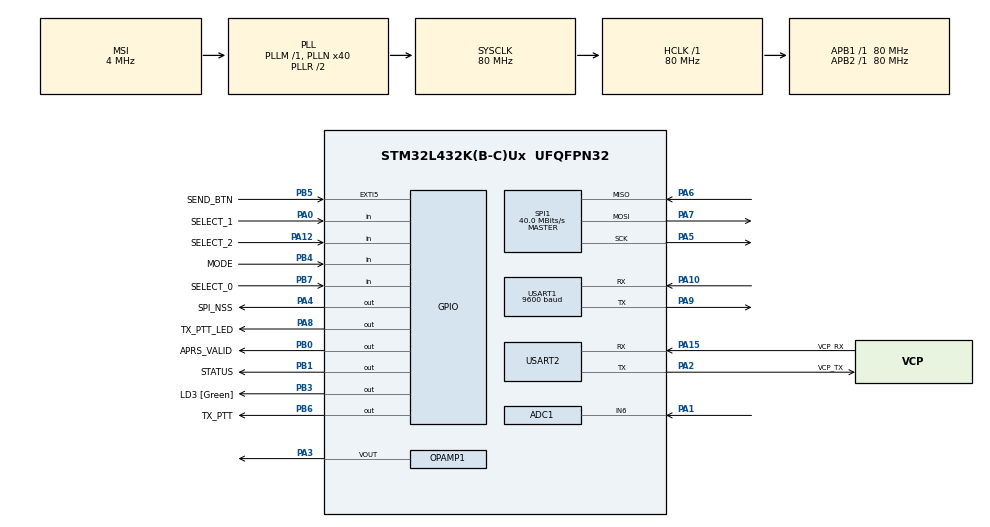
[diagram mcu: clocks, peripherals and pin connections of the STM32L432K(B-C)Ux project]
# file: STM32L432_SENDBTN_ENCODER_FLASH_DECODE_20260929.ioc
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ADC1.Channel-4\#ChannelRegularConversion=ADC_CHANNEL_6
ADC1.DMAContinuousRequests=ENABLE
ADC1.ExternalTrigConv=ADC_EXTERNALTRIG_T2_TRGO
ADC1.NbrOfConversionFlag=1
ADC1.OffsetNumber-4\#ChannelRegularConversion=ADC_OFFSET_NONE
ADC1.Overrun=ADC_OVR_DATA_OVERWRITTEN
ADC1.Rank-4\#ChannelRegularConversion=1
ADC1.Resolution=ADC_RESOLUTION_8B
ADC1.SamplingTime-4\#ChannelRegularConversion=ADC_SAMPLETIME_2CYCLES_5
ADC1.master=1
DAC1.DAC_Trigger-DAC_OUT1_Int=DAC_TRIGGER_T7_TRGO
Dma.ADC1.5.Direction=DMA_PERIPH_TO_MEMORY
Dma.ADC1.5.Instance=DMA1_Channel1
Dma.ADC1.5.MemDataAlignment=DMA_MDATAALIGN_BYTE
Dma.ADC1.5.MemInc=DMA_MINC_ENABLE
Dma.ADC1.5.Mode=DMA_CIRCULAR
Dma.ADC1.5.PeriphDataAlignment=DMA_PDATAALIGN_BYTE
Dma.ADC1.5.PeriphInc=DMA_PINC_DISABLE
Dma.ADC1.5.Priority=DMA_PRIORITY_VERY_HIGH
Dma.DAC_CH1.0.Direction=DMA_MEMORY_TO_PERIPH
Dma.DAC_CH1.0.Instance=DMA1_Channel3
Dma.DAC_CH1.0.MemDataAlignment=DMA_MDATAALIGN_WORD
Dma.DAC_CH1.0.MemInc=DMA_MINC_ENABLE
Dma.DAC_CH1.0.Mode=DMA_CIRCULAR
Dma.DAC_CH1.0.PeriphDataAlignment=DMA_PDATAALIGN_WORD
Dma.DAC_CH1.0.PeriphInc=DMA_PINC_DISABLE
Dma.DAC_CH1.0.Priority=DMA_PRIORITY_HIGH
Dma.Request0=DAC_CH1
Dma.Request1=USART1_RX
Dma.Request2=USART1_TX
Dma.Request3=USART2_RX
Dma.Request4=USART2_TX
Dma.Request5=ADC1
Dma.USART1_RX.1.Direction=DMA_PERIPH_TO_MEMORY
Dma.USART1_RX.1.Instance=DMA1_Channel5
Dma.USART1_RX.1.MemDataAlignment=DMA_MDATAALIGN_BYTE
Dma.USART1_RX.1.MemInc=DMA_MINC_ENABLE
Dma.USART1_RX.1.Mode=DMA_NORMAL
Dma.USART1_RX.1.PeriphDataAlignment=DMA_PDATAALIGN_BYTE
Dma.USART1_RX.1.PeriphInc=DMA_PINC_DISABLE
Dma.USART1_RX.1.Priority=DMA_PRIORITY_LOW
Dma.USART1_TX.2.Direction=DMA_MEMORY_TO_PERIPH
Dma.USART1_TX.2.Instance=DMA1_Channel4
Dma.USART1_TX.2.MemDataAlignment=DMA_MDATAALIGN_BYTE
Dma.USART1_TX.2.MemInc=DMA_MINC_ENABLE
Dma.USART1_TX.2.Mode=DMA_NORMAL
Dma.USART1_TX.2.PeriphDataAlignment=DMA_PDATAALIGN_BYTE
Dma.USART1_TX.2.PeriphInc=DMA_PINC_DISABLE
Dma.USART1_TX.2.Priority=DMA_PRIORITY_LOW
Dma.USART2_RX.3.Direction=DMA_PERIPH_TO_MEMORY
Dma.USART2_RX.3.Instance=DMA1_Channel6
Dma.USART2_RX.3.MemDataAlignment=DMA_MDATAALIGN_BYTE
Dma.USART2_RX.3.MemInc=DMA_MINC_ENABLE
Dma.USART2_RX.3.Mode=DMA_NORMAL
Dma.USART2_RX.3.PeriphDataAlignment=DMA_PDATAALIGN_BYTE
Dma.USART2_RX.3.PeriphInc=DMA_PINC_DISABLE
Dma.USART2_RX.3.Priority=DMA_PRIORITY_LOW
Dma.USART2_TX.4.Direction=DMA_MEMORY_TO_PERIPH
Dma.USART2_TX.4.Instance=DMA1_Channel7
Dma.USART2_TX.4.MemDataAlignment=DMA_MDATAALIGN_BYTE
Dma.USART2_TX.4.MemInc=DMA_MINC_ENABLE
Dma.USART2_TX.4.Mode=DMA_NORMAL
Dma.USART2_TX.4.PeriphDataAlignment=DMA_PDATAALIGN_BYTE
Dma.USART2_TX.4.PeriphInc=DMA_PINC_DISABLE
Dma.USART2_TX.4.Priority=DMA_PRIORITY_LOW
Mcu.Family=STM32L4
Mcu.Name=STM32L432K(B-C)Ux
Mcu.Package=UFQFPN32
NVIC.DMA1_Channel1_IRQn=true\:0\:0\:false\:false\:true\:false\:true\:true
NVIC.DMA1_Channel3_IRQn=true\:0\:0\:false\:false\:true\:false\:true\:true
NVIC.DMA1_Channel4_IRQn=true\:0\:0\:false\:false\:true\:false\:true\:true
NVIC.DMA1_Channel5_IRQn=true\:0\:0\:false\:false\:true\:false\:true\:true
NVIC.DMA1_Channel6_IRQn=true\:0\:0\:false\:false\:true\:false\:true\:true
NVIC.DMA1_Channel7_IRQn=true\:0\:0\:false\:false\:true\:false\:true\:true
NVIC.EXTI9_5_IRQn=true\:0\:0\:false\:false\:true\:true\:true\:true
NVIC.PriorityGroup=NVIC_PRIORITYGROUP_4
NVIC.TIM1_UP_TIM16_IRQn=true\:0\:0\:false\:false\:true\:true\:true\:true
NVIC.TIM6_DAC_IRQn=true\:0\:0\:false\:false\:true\:true\:true\:true
NVIC.TIM7_IRQn=true\:0\:0\:false\:false\:true\:true\:true\:true
NVIC.USART1_IRQn=true\:0\:0\:false\:false\:true\:true\:true\:true
NVIC.USART2_IRQn=true\:0\:0\:false\:false\:true\:true\:true\:true
PA0.GPIO_Label=SELECT_1
PA0.Signal=GPIO_Input
PA1.Signal=ADCx_IN6
PA10.Mode=Asynchronous
PA10.Signal=USART1_RX
PA12.GPIO_Label=SELECT_2
PA12.Signal=GPIO_Input
PA13\ (JTMS-SWDIO).GPIO_Label=SWDIO
PA13\ (JTMS-SWDIO).Mode=Serial_Wire
PA13\ (JTMS-SWDIO).Signal=SYS_JTMS-SWDIO
PA14\ (JTCK-SWCLK).GPIO_Label=SWCLK
PA14\ (JTCK-SWCLK).Mode=Serial_Wire
PA14\ (JTCK-SWCLK).Signal=SYS_JTCK-SWCLK
PA15\ (JTDI).GPIO_Label=VCP_RX
PA15\ (JTDI).Mode=Asynchronous
PA15\ (JTDI).Signal=USART2_RX
PA2.GPIO_Label=VCP_TX
PA2.Mode=Asynchronous
PA2.Signal=USART2_TX
PA3.Mode=Follower-DAC_OUT1-INP
PA3.Signal=OPAMP1_VOUT
PA4.GPIO_Label=SPI_NSS
PA4.Signal=GPIO_Output
PA5.Mode=Full_Duplex_Master
PA5.Signal=SPI1_SCK
PA6.Mode=Full_Duplex_Master
PA6.Signal=SPI1_MISO
PA7.Mode=Full_Duplex_Master
PA7.Signal=SPI1_MOSI
PA8.GPIO_Label=TX_PTT_LED
PA8.Signal=GPIO_Output
PA9.Mode=Asynchronous
PA9.Signal=USART1_TX
PB0.GPIO_Label=APRS_VALID
PB0.Signal=GPIO_Output
PB1.GPIO_Label=STATUS
PB1.Signal=GPIO_Output
PB3\ (JTDO-TRACESWO).GPIO_Label=LD3 [Green]
PB3\ (JTDO-TRACESWO).Signal=GPIO_Output
PB4\ (NJTRST).GPIO_Label=MODE
PB4\ (NJTRST).Signal=GPIO_Input
PB5.GPIO_Label=SEND_BTN
PB5.GPIO_ModeDefaultEXTI=GPIO_MODE_IT_FALLING
PB5.Signal=GPXTI5
PB6.GPIO_Label=TX_PTT
PB6.Signal=GPIO_Output
PB7.GPIO_Label=SELECT_0
PB7.Signal=GPIO_Input
PC14-OSC32_IN\ (PC14).Mode=LSE-External-Oscillator
PC14-OSC32_IN\ (PC14).Signal=RCC_OSC32_IN
PC15-OSC32_OUT\ (PC15).Mode=LSE-External-Oscillator
PC15-OSC32_OUT\ (PC15).Signal=RCC_OSC32_OUT
ProjectManager.HeapSize=0x200
ProjectManager.StackSize=0x400
ProjectManager.TargetToolchain=STM32CubeIDE
RCC.ADCFreq_Value=48000000
RCC.AHBFreq_Value=80000000
RCC.APB1Freq_Value=80000000
RCC.APB1TimFreq_Value=80000000
RCC.APB2Freq_Value=80000000
RCC.APB2TimFreq_Value=80000000
RCC.CortexFreq_Value=80000000
RCC.HCLKFreq_Value=80000000
RCC.HSE_VALUE=8000000
RCC.HSI16_VALUE=16000000
RCC.HSI48_VALUE=48000000
RCC.HSI_VALUE=16000000
RCC.MSI_VALUE=4000000
RCC.PLLMUL=RCC_PLLMUL_4
RCC.PLLN=40
RCC.PLLSAI1N=24
RCC.SYSCLKFreq_VALUE=80000000
RCC.SYSCLKSource=RCC_SYSCLKSOURCE_PLLCLK
RCC.USBFreq_Value=48000000
RCC.VCOOutputFreq_Value=160000000
SH.ADCx_IN6.0=ADC1_IN6,IN6-Single-Ended
SPI1.CalculateBaudRate=40.0 MBits/s
SPI1.Direction=SPI_DIRECTION_2LINES
SPI1.Mode=SPI_MODE_MASTER
SPI1.VirtualType=VM_MASTER
TIM1.Period=499
TIM1.Prescaler=15999
TIM2.Period=8332
TIM2.Prescaler=0
TIM2.TIM_MasterOutputTrigger=TIM_TRGO_UPDATE
TIM6.Period=2082
TIM6.TIM_MasterOutputTrigger=TIM_TRGO_UPDATE
TIM7.Period=19
TIM7.Prescaler=80
TIM7.TIM_MasterOutputTrigger=TIM_TRGO_UPDATE
USART1.BaudRate=9600
USART1.VirtualMode-Asynchronous=VM_ASYNC
USART2.VirtualMode-Asynchronous=VM_ASYNC
VP_DAC1_VS_DACI1.Mode=DAC_OUT1_Int
VP_TIM1_VS_ClockSourceINT.Mode=Internal
VP_TIM1_VS_OPM.Mode=OPM_bit
VP_TIM2_VS_ClockSourceINT.Mode=Internal
VP_TIM6_VS_ClockSourceINT.Mode=Enable_Timer
VP_TIM7_VS_ClockSourceINT.Mode=Enable_Timer
board=NUCLEO-L432KC

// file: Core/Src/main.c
/* USER CODE BEGIN Header */
/**
  ******************************************************************************
  * @file           : main.c
  * @brief          : Main program body
  ******************************************************************************
  * @attention
  *
  * Copyright (c) 2026 STMicroelectronics.
  * All rights reserved.
  *
  * This software is licensed under terms that can be found in the LICENSE file
  * in the root directory of this software component.
  * If no LICENSE file comes with this software, it is provided AS-IS.
  *
  ******************************************************************************
  */
/**
  Click on the Option Bytes tab on the left menu.

  Expand the User Configuration drop-down menu.

  Locate the following two bits and verify their settings:

  nSWBOOT0: This box MUST be unchecked (value = 0).
            This tells the MCU to ignore the physical PA14 pin for
            booting and use the software bit instead.

  nBOOT0: This box MUST be checked (value = 1). When nSWBOOT0 is 1,
          this bit acts as your virtual BOOT0 pin.
          Setting it to 1 forces the MCU to boot directly into your
          main Flash memory code.

**/
/* USER CODE END Header */
#include "main.h"

/* USER CODE BEGIN Includes */
#include <stdbool.h>
#include "stdlib.h"
#include "string.h"
#include "math.h"

#include "project_info.h"

#include "dma_printf.h"
#include "dma_scanf.h"
#include "log.h"

#include "menu.h"
#include "SR105U.h"

#include "dtmf.h"
#include "BitFIFO.h"
#include "AFSK.h"
#include "APRS.h"

/* USER CODE END Includes */

/* USER CODE BEGIN PD */
// Page 127 start address for STM32L432KC (256KB total flash)
#define FLASH_BASE_ADDR          0x08000000U
#define CONFIG_FLASH_PAGE        127
#define CONFIG_FLASH_ADDRESS     (FLASH_BASE_ADDR + (CONFIG_FLASH_PAGE * FLASH_PAGE_SIZE))		//0x0803F800U

/* USER CODE END PD */

ADC_HandleTypeDef hadc1;
DMA_HandleTypeDef hdma_adc1;

DAC_HandleTypeDef hdac1;
DMA_HandleTypeDef hdma_dac_ch1;

OPAMP_HandleTypeDef hopamp1;

SPI_HandleTypeDef hspi1;

TIM_HandleTypeDef htim1;
TIM_HandleTypeDef htim2;
TIM_HandleTypeDef htim6;
TIM_HandleTypeDef htim7;

UART_HandleTypeDef huart1;
UART_HandleTypeDef huart2;
DMA_HandleTypeDef hdma_usart1_rx;
DMA_HandleTypeDef hdma_usart1_tx;
DMA_HandleTypeDef hdma_usart2_rx;
DMA_HandleTypeDef hdma_usart2_tx;

/* USER CODE BEGIN PV */
uint8_t flag = 0;
bool send_Pressed = 0;

/* USER CODE END PV */

void SystemClock_Config(void);
static void MX_GPIO_Init(void);
static void MX_DMA_Init(void);
static void MX_DAC1_Init(void);
static void MX_OPAMP1_Init(void);
static void MX_USART2_UART_Init(void);
static void MX_TIM2_Init(void);
static void MX_TIM6_Init(void);
static void MX_TIM7_Init(void);
static void MX_USART1_UART_Init(void);
static void MX_ADC1_Init(void);
static void MX_SPI1_Init(void);
static void MX_TIM1_Init(void);

/* USER CODE BEGIN 0 */

#include "stm32l4xx_hal.h"

#include "stm32l4xx_hal.h"
#include <stdio.h>

void aprs_led_pulse(void) {
    // 1. Turn LED ON
    HAL_GPIO_WritePin(APRS_VALID_GPIO_Port, APRS_VALID_Pin, GPIO_PIN_SET);

    // 2. Reset counter value
    __HAL_TIM_SET_COUNTER(&htim1, 0);

    // 3. Start Timer in Interrupt mode
    HAL_TIM_Base_Start_IT(&htim1);
}

HAL_StatusTypeDef Flash_WriteConfig(uint64_t data)
{
    // 1. Read actual flash size (in KB)
    uint32_t flash_size_kb = *((uint16_t*)FLASHSIZE_BASE);
    uint32_t flash_size_bytes = flash_size_kb * 1024;

    // 2. Compute page count and last valid page index
    uint32_t page_count = flash_size_bytes / 2048; // 2 KB per page
    uint32_t last_page_index = page_count - 1;
    uint32_t last_page_address = 0x08000000 + (last_page_index * 0x800);

    // 3. Unlock and clear flags
    HAL_FLASH_Unlock();
    __HAL_FLASH_CLEAR_FLAG(FLASH_FLAG_ALL_ERRORS);

    // 4. Erase last page
    FLASH_EraseInitTypeDef EraseInit;
    uint32_t PageError = 0;
    EraseInit.TypeErase = FLASH_TYPEERASE_PAGES;
    EraseInit.Page = last_page_index;
    EraseInit.NbPages = 1;
    EraseInit.Banks = FLASH_BANK_1;

    HAL_StatusTypeDef status = HAL_FLASHEx_Erase(&EraseInit, &PageError);
    if (status != HAL_OK) {
        HAL_FLASH_Lock();
        return status; // Erase failed
    }

    // 5. Program 64-bit data at start of last page
    status = HAL_FLASH_Program(
        FLASH_TYPEPROGRAM_DOUBLEWORD,
        last_page_address,
        data
    );

    // 6. Lock flash again
    HAL_FLASH_Lock();

    return status;
}

HAL_StatusTypeDef Flash_EraseLastPage(void)
{
    // 1. Read actual flash size
    uint32_t flash_size_kb = *((uint16_t*)FLASHSIZE_BASE);
    uint32_t flash_size_bytes = flash_size_kb * 1024;

    // 2. Compute last valid page
    uint32_t page_count = flash_size_bytes / 2048; // 2 KB per page
    uint32_t last_page_index = page_count - 1;

    // 3. Unlock and clear flags
    HAL_FLASH_Unlock();
    __HAL_FLASH_CLEAR_FLAG(FLASH_FLAG_ALL_ERRORS);

    // 4. Erase last page
    FLASH_EraseInitTypeDef EraseInit;
    uint32_t PageError = 0;
    EraseInit.TypeErase = FLASH_TYPEERASE_PAGES;
    EraseInit.Page = last_page_index;
    EraseInit.NbPages = 1;
    EraseInit.Banks = FLASH_BANK_1;

    HAL_StatusTypeDef status = HAL_FLASHEx_Erase(&EraseInit, &PageError);

    HAL_FLASH_Lock();
    return status;
}

HAL_StatusTypeDef Save_Config_To_Flash(const AppConfig_t *config)
{

    HAL_StatusTypeDef status;
    FLASH_EraseInitTypeDef erase_init = {0};
    uint32_t page_error = 0;

    // 1. Disable Caches (prevents CPU from serving stale Flash reads)
    __HAL_FLASH_INSTRUCTION_CACHE_DISABLE();
    __HAL_FLASH_DATA_CACHE_DISABLE();

    // 2. Unlock Flash
    HAL_FLASH_Unlock();

    // 3. Clear flags (prevents false errors on STM32L4)
    __HAL_FLASH_CLEAR_FLAG(FLASH_FLAG_ALL_ERRORS);

    // 4. Configure page erase
    erase_init.TypeErase   = FLASH_TYPEERASE_PAGES;
    erase_init.Banks       = FLASH_BANK_1;
    erase_init.Page        = CONFIG_FLASH_PAGE;
    erase_init.NbPages     = 1;

    // 5. Erase Page with Interrupts Disabled
    __disable_irq();
    status = HAL_FLASHEx_Erase(&erase_init, &page_error);
    __enable_irq();

    if (status != HAL_OK) {
    	uint32_t error_code = HAL_FLASH_GetError(); // Inspect this in debugger
    	log_message(LOG_LEVEL_ERROR, "FLASH", "Error Code: %x\n\r", error_code);
        HAL_FLASH_Lock();
        return status;
    }

    // 6. Verify Page is completely 0xFF before writing
    volatile uint64_t *flash_ptr = (uint64_t *)CONFIG_FLASH_ADDRESS;
    if (*flash_ptr != 0xFFFFFFFFFFFFFFFFULL) {
      HAL_FLASH_Lock();
      return HAL_ERROR; // Memory is still dirty, do not attempt program
    }

    // 7. Write Data in 64-bit Double-Word Chunks
    uint64_t write_buffer = 0;
    uint8_t *src_ptr = (uint8_t *)config;
    uint32_t bytes_left = sizeof(AppConfig_t);
    uint32_t current_address = CONFIG_FLASH_ADDRESS;
    uint32_t num_double_words = (sizeof(AppConfig_t) + 7) / 8;

    for (uint32_t i = 0; i < num_double_words; i++) {
      write_buffer = 0xFFFFFFFFFFFFFFFFULL; // Default to erased state padding
      uint32_t chunk_size = (bytes_left >= 8) ? 8 : bytes_left;
      memcpy(&write_buffer, src_ptr, chunk_size);

      status = HAL_FLASH_Program(FLASH_TYPEPROGRAM_DOUBLEWORD, current_address, write_buffer);
      if (status != HAL_OK) {
        break;
      }

    current_address += 8;
    src_ptr += chunk_size;
    bytes_left -= chunk_size;
  }

    // 8. Lock Flash & Clear Flags
    HAL_FLASH_Lock();

    return status;

}

void Load_Config_From_Flash(AppConfig_t *config)
{
    // Directly copy from Flash memory address into local memory structure
    memcpy(config, (const void *)CONFIG_FLASH_ADDRESS, sizeof(AppConfig_t));
}

void DisablePTT() {
	HAL_GPIO_WritePin(TX_PTT_GPIO_Port, TX_PTT_Pin, GPIO_PIN_SET);
	HAL_GPIO_WritePin(TX_PTT_LED_GPIO_Port, TX_PTT_LED_Pin, GPIO_PIN_RESET);
}

void EnablePTT() {
	HAL_GPIO_WritePin(TX_PTT_GPIO_Port, TX_PTT_Pin, GPIO_PIN_RESET);
	HAL_GPIO_WritePin(TX_PTT_LED_GPIO_Port, TX_PTT_LED_Pin, GPIO_PIN_SET);
}

void StartAPRS() {
	HAL_StatusTypeDef halStatus;
	DAC_ChannelConfTypeDef sConfig = {0};

 	log_message(LOG_LEVEL_INFO,"APRS", "APRS Mode Started\n\r");
    //printf("APRS Mode 1 Selected\n\r");
 	log_message(LOG_LEVEL_INFO,"APRS", "Using Tx Frequency : %.4f\n\r", txFreq);
    //printf("\tUsing Tx Frequency : %.4f\n\r", txFreq);

	HAL_TIM_Base_Stop(&htim6);
	// 1. Specify the configuration parameters
	sConfig.DAC_SampleAndHold = DAC_SAMPLEANDHOLD_DISABLE;
	sConfig.DAC_Trigger = DAC_TRIGGER_T6_TRGO;		// <-- CHANGE TRIGGER SOURCE HERE
	sConfig.DAC_OutputBuffer = DAC_OUTPUTBUFFER_DISABLE;
	sConfig.DAC_ConnectOnChipPeripheral = DAC_CHIPCONNECT_ENABLE;
	sConfig.DAC_UserTrimming = DAC_TRIMMING_FACTORY;

    // 2. Re-initialize the DAC Channel with the new trigger source
	// (Change DAC_CHANNEL_1 to DAC_CHANNEL_2 if using the second channel)
//	if (HAL_DAC_ConfigChannel(&hdac1, &sConfig, DAC_CHANNEL_1) != HAL_OK)
	halStatus =  HAL_DAC_ConfigChannel(&hdac1, &sConfig, DAC_CHANNEL_1);
	if (halStatus != HAL_OK)
	{
//	  Error_Handler();
		printf("HAL_DAC_ConfigChannel() ERROR: %x\n\r", halStatus);
		HAL_Delay(1000);
		TRIGGER_ERROR(ERROR_DAC);
	}

	// Change timer frequency on the fly
	__HAL_TIM_SET_PRESCALER(&htim6, 0);      // Set PSC to 0 (divide clock by 80)
	__HAL_TIM_SET_AUTORELOAD(&htim6, 2082);  // Set ARR to 2082 (count 1000 steps)

	// 1. STAGING: Modify the configuration structures
	// CHANGE THESE TWO LINES TO DataWidth:
	// Note: PDATAALIGN for Peripheral, MDATAALIGN for Memory
	hdma_dac_ch1.Init.PeriphDataAlignment = DMA_PDATAALIGN_BYTE;
	hdma_dac_ch1.Init.MemDataAlignment    = DMA_MDATAALIGN_BYTE;

	// 2. HARDWARE INITIALIZATION: Commit the configuration to physical registers
	// You MUST call this so the hardware applies the HALFWORD settings!
	HAL_DMA_Init(&hdma_dac_ch1);

	// 3. POINTER LINKING: Link the DAC and DMA structures together
    hdac1.DMA_Handle1 = &hdma_dac_ch1;
    hdma_dac_ch1.Parent = &hdac1;

    // 4. RESET STATE: Clear peripheral flags to avoid an immediate false interrupt
    __HAL_DMA_CLEAR_FLAG(&hdma_dac_ch1, __HAL_DMA_GET_TC_FLAG_INDEX(&hdma_dac_ch1));
    __HAL_DMA_CLEAR_FLAG(&hdma_dac_ch1, __HAL_DMA_GET_HT_FLAG_INDEX(&hdma_dac_ch1));

    // 5. PERIPHERAL STARTUP: Start the actual streaming
    // Only call this AFTER steps 1-4 are completely done.

    // Start DAC in DMA mode
    // This automatically links TIM6 trigger -> DAC hardware -> DMA requests
	HAL_DAC_SetValue(&hdac1, DAC_CHANNEL_1, DAC_ALIGN_8B_R, DAC_REST);
    HAL_DAC_Start_DMA(&hdac1, DAC_CHANNEL_1,
    		                  (uint32_t*) send_buff,
							  sizeof(send_buff) / sizeof(send_buff[0]),    //AFSK_SEND_BUFF_SIZE,
							  DAC_ALIGN_8B_R);

    HAL_TIM_Base_Start_IT(&htim6);				// 26uS Timer

}

void StopAPRS() {
//	HAL_StatusTypeDef halStatus;

  log_message(LOG_LEVEL_INFO,"APRS", "APRS Mode Stopped\n\r");
  HAL_TIM_Base_Stop(&htim6);
  HAL_DAC_Stop_DMA(&hdac1, DAC_CHANNEL_1);

}

void StartDTMF() {
	HAL_StatusTypeDef halStatus;

	DAC_ChannelConfTypeDef sConfig = {0};

 	log_message(LOG_LEVEL_INFO,"DTMF", "DTMF Mode Started\n\r");
    //printf("APRS Mode 1 Selected\n\r");
 	log_message(LOG_LEVEL_INFO,"DTMF", "Using Tx Frequency : %.4f\n\r", txFreq);
    //printf("\tUsing Tx Frequency : %.4f\n\r", txFreq);

	HAL_TIM_Base_Stop(&htim6);
	// 1. Specify the configuration parameters
	sConfig.DAC_SampleAndHold = DAC_SAMPLEANDHOLD_DISABLE;
	sConfig.DAC_Trigger = DAC_TRIGGER_T6_TRGO;		// <-- CHANGE TRIGGER SOURCE HERE
	sConfig.DAC_OutputBuffer = DAC_OUTPUTBUFFER_DISABLE;
	sConfig.DAC_ConnectOnChipPeripheral = DAC_CHIPCONNECT_ENABLE;
	sConfig.DAC_UserTrimming = DAC_TRIMMING_FACTORY;

    // 2. Re-initialize the DAC Channel with the new trigger source
	// (Change DAC_CHANNEL_1 to DAC_CHANNEL_2 if using the second channel)
//	if (HAL_DAC_ConfigChannel(&hdac1, &sConfig, DAC_CHANNEL_1) != HAL_OK)
	halStatus =  HAL_DAC_ConfigChannel(&hdac1, &sConfig, DAC_CHANNEL_1);
	if (halStatus != HAL_OK)
	{
//	  Error_Handler();
		printf("HAL_DAC_ConfigChannel() ERROR: %x\n\r", halStatus);
		HAL_Delay(1000);
		TRIGGER_ERROR(ERROR_DAC);
	}

	// Change timer frequency on the fly
	__HAL_TIM_SET_PRESCALER(&htim6, 0);   // Set PSC to 79 (divide clock by 80)
	__HAL_TIM_SET_AUTORELOAD(&htim6, 1599);  // Set ARR to 999 (count 1000 steps)

	// 1. STAGING: Modify the configuration structures
	// CHANGE THESE TWO LINES TO DataWidth:
	// Note: PDATAALIGN for Peripheral, MDATAALIGN for Memory
	hdma_dac_ch1.Init.PeriphDataAlignment = DMA_PDATAALIGN_WORD;
	hdma_dac_ch1.Init.MemDataAlignment    = DMA_MDATAALIGN_WORD;

	// 2. HARDWARE INITIALIZATION: Commit the configuration to physical registers
	// You MUST call this so the hardware applies the HALFWORD settings!
	HAL_DMA_Init(&hdma_dac_ch1);

	// 3. POINTER LINKING: Link the DAC and DMA structures together
	hdac1.DMA_Handle1 = &hdma_dac_ch1;
	hdma_dac_ch1.Parent = &hdac1;

	// 4. RESET STATE: Clear peripheral flags to avoid an immediate false interrupt
	__HAL_DMA_CLEAR_FLAG(&hdma_dac_ch1, __HAL_DMA_GET_TC_FLAG_INDEX(&hdma_dac_ch1));
	__HAL_DMA_CLEAR_FLAG(&hdma_dac_ch1, __HAL_DMA_GET_HT_FLAG_INDEX(&hdma_dac_ch1));

	// 5. PERIPHERAL STARTUP: Start the actual streaming
	// Only call this AFTER steps 1-4 are completely done.
    HAL_DAC_Start_DMA(&hdac1, DAC_CHANNEL_1,
    		                  (uint32_t*)dac_buffer,
							  sizeof(dac_buffer) / sizeof(dac_buffer[0]),
							  DAC_ALIGN_12B_R);

	HAL_TIM_Base_Start_IT(&htim6);

    // Start DAC in DMA mode
    // This automatically links TIM6 trigger -> DAC hardware -> DMA requests
//    HAL_DAC_Start_DMA(&hdac1, DAC_CHANNEL_1, (uint32_t*)dac_buffer, BUFFER_SIZE, DAC_ALIGN_12B_R);

//    HAL_DAC_Start(&hdac1, DAC_CHANNEL_1);
//    HAL_TIM_Base_Start_IT(&htim6);				// 50uS Timer

}

void StopDTMF() {
//	HAL_StatusTypeDef halStatus;

	log_message(LOG_LEVEL_INFO,"DTMF", "DTMF Mode Stopped\n\r");
    // 200ms has elapsed! Stop the playback
    HAL_Delay(DTMF_DURATION);
    HAL_TIM_Base_Stop(&htim6);
    HAL_DAC_Stop_DMA(&hdac1, DAC_CHANNEL_1);
#if 0
    halStatus = HAL_OPAMP_Stop(&hopamp1);
	if (halStatus != HAL_OK)
	{
//	  Error_Handler();
		printf("HAL_OPAMP_Stop() ERROR: %x\n\r", halStatus);
		HAL_Delay(1000);
     	TRIGGER_ERROR(ERROR_OPAMP);
	}
#endif
#if 0
    if (HAL_OPAMP_Stop(&hopamp1) != HAL_OK) {
    	TRIGGER_ERROR(ERROR_OPAMP);
    }
#endif
}

void APRS_Send(APRSPacket *pack) {
   	  log_message(LOG_LEVEL_INFO,"APRS", "APRS Packet sent\n\r");
      //printf("APRS Mode 1 Selected\n\r");
   	  log_message(LOG_LEVEL_INFO,"APRS", "Using Tx Frequency : %.4f\n\r", txFreq);
      //printf("\tUsing Tx Frequency : %.4f\n\r", txFreq);
      if (aprsInit == 0) {
  	    BitFIFO_init(&tx_fifo, malloc(APRS_FIFO_BYTES), APRS_FIFO_BYTES);
  	    tx_pack.dest = malloc(APRS_SIGN_LEN);
  	    tx_pack.callsign = malloc(APRS_SIGN_LEN);
  	    tx_pack.digi = malloc(APRS_SIGN_LEN * APRS_MAX_DIGI);
  	    tx_pack.info = malloc(APRS_MAX_INFO + 1);

        HAL_OPAMP_Start(&hopamp1);
        AFSK_init();
        APRS_init();

        strcpy(tx_pack.dest, APRS_DEFAULT_PACKET.dest);
        strcpy(tx_pack.callsign, APRS_DEFAULT_PACKET.callsign);
        strcpy(tx_pack.digi, APRS_DEFAULT_PACKET.digi);
        strcpy(tx_pack.info, APRS_DEFAULT_PACKET.info);
  	    aprsInit = 1;
      }

      // N0CALL>APCSS,WIDE1-1:>MODE=?
      strcpy(tx_pack.callsign, pack->callsign);
      strcpy(tx_pack.dest, pack->dest);
      strcpy(tx_pack.digi, pack->digi);
      strcpy(tx_pack.info, pack->info);
      APRS_print(&tx_pack);

      EnablePTT();
      StartAPRS();
      APRS_encode(&tx_fifo, &tx_pack);
      AFSK_send(&tx_fifo);

}

/* USER CODE END 0 */

int main(void)
{

  /* USER CODE BEGIN 1 */
////  uint32_t num = 0;
  GPIO_PinState pin_state;
  dtmf_dma_F = 0;
  dtmf_dma_H = 0;
  aprs_dma_F = 0;
  aprs_dma_H = 0;
  HAL_StatusTypeDef status;

  /* USER CODE END 1 */

  /* MCU Configuration--------------------------------------------------------*/

  /* Reset of all peripherals, Initializes the Flash interface and the Systick. */
  HAL_Init();

  /* Configure the system clock */
  SystemClock_Config();

  /* Initialize all configured peripherals */
  MX_GPIO_Init();
  MX_DMA_Init();
  MX_DAC1_Init();
  MX_OPAMP1_Init();
  MX_USART2_UART_Init();
  MX_TIM2_Init();
  MX_TIM6_Init();
  MX_TIM7_Init();
  MX_USART1_UART_Init();
  MX_ADC1_Init();
  MX_SPI1_Init();
  MX_TIM1_Init();
  /* USER CODE BEGIN 2 */

  setbuf(stdin, NULL);
  setbuf(stdout, NULL);
  setbuf(stderr, NULL);
  dma_printf_init(&huart2);
  dma_scanf_init(&huart2);

  log_set_level(LOG_LEVEL_INFO);
  // Clear the screen and home the cursor
  printf("\033[2J\033[H");

  printf("\n\rProject %s\n\r", PROJECT_NAME);
  printf("Build at %s %s\r\n", __DATE__, __TIME__);

  // set PTT High (Rx Mode)
  HAL_GPIO_WritePin(TX_PTT_GPIO_Port, TX_PTT_Pin, GPIO_PIN_SET);
  HAL_GPIO_WritePin(TX_PTT_LED_GPIO_Port, TX_PTT_LED_Pin, GPIO_PIN_RESET);

  for(int i=0; i<5; i++) {
    HAL_GPIO_WritePin(TX_PTT_LED_GPIO_Port, TX_PTT_LED_Pin, GPIO_PIN_SET);
    HAL_GPIO_WritePin(STATUS_GPIO_Port, STATUS_Pin, GPIO_PIN_SET);
    HAL_GPIO_WritePin(APRS_VALID_GPIO_Port, APRS_VALID_Pin, GPIO_PIN_SET);
    HAL_Delay(250);
    HAL_GPIO_WritePin(TX_PTT_LED_GPIO_Port, TX_PTT_LED_Pin, GPIO_PIN_RESET);
    HAL_GPIO_WritePin(STATUS_GPIO_Port, STATUS_Pin, GPIO_PIN_RESET);
    HAL_GPIO_WritePin(APRS_VALID_GPIO_Port, APRS_VALID_Pin, GPIO_PIN_RESET);
    HAL_Delay(250);
  }

  ///////////////////////////////////////////////////////////////////
  // Load Config from Flash
  // Load saved settings
  // To clear FLASH->SR flags before new FLASH operations.

  log_message(LOG_LEVEL_DEBUG, "FLASH", "FLASH->SR: %x\n\r", FLASH->SR);
//  printf("FLASH->SR: %x\n\r", FLASH->SR);
  if (FLASH->SR != 0)
	  status = Flash_EraseLastPage();
//  printf("Status : %x\n\r", status);
  log_message(LOG_LEVEL_DEBUG, "FLASH", "Status : %x\n\r", status);
  log_message(LOG_LEVEL_DEBUG, "FLASH", "FLASH->SR: %x\n\r", FLASH->SR);
//  printf("FLASH->SR: %x\n\r", FLASH->SR);

  Load_Config_From_Flash(&sysConfig);
  log_message(LOG_LEVEL_DEBUG,"CONFIG", "Checksum: %x\n\r", sysConfig.checksum);
  // Check if configuration is unitialized (Flash reads 0xFFFFFFFF when erased)
  if (sysConfig.checksum != 0x5A5A5A5A) {
	  log_message(LOG_LEVEL_DEBUG,"CONFIG", "User Config Initializing\n\r");
      // Load default values if uninitialized
      sysConfig.version = 1;
      strcpy(sysConfig.device_name, "GroundStation-01");
      sysConfig.txFreq = TX_FREQ;
      sysConfig.rxFreq = RX_FREQ;

      sysConfig.sq_level = 0;
      sysConfig.af_level = 6;

	  txFreq = sysConfig.txFreq;
	  rxFreq = sysConfig.rxFreq;

      sysConfig.checksum = 0x5A5A5A5A;

      // Save default settings to flash
      status = Save_Config_To_Flash(&sysConfig);
      if (status != HAL_OK) {
    	  log_message(LOG_LEVEL_ERROR,"CONFIG", "Flash Save Error: %d\n\r", status);
      }
  } else {
	log_message(LOG_LEVEL_DEBUG,"CONFIG", "User Config initialized\n\r");
	log_message(LOG_LEVEL_DEBUG,"CONFIG", "Name: %s\n\r", sysConfig.device_name);
	log_message(LOG_LEVEL_DEBUG,"CONFIG", "Rx Freq: %f\n\r", sysConfig.rxFreq);
	log_message(LOG_LEVEL_DEBUG,"CONFIG", "Tx Freq: %f\n\r", sysConfig.txFreq);
	log_message(LOG_LEVEL_DEBUG,"CONFIG", "SQ Level: %d\n\r", sysConfig.sq_level);
	log_message(LOG_LEVEL_DEBUG,"CONFIG", "AF Level: %d\n\r", sysConfig.af_level);

	// Configure Frequencies for SR105U
	txFreq = sysConfig.txFreq;
	rxFreq = sysConfig.rxFreq;
  }

  Load_Config_From_Flash(&sysConfig);
  log_message(LOG_LEVEL_DEBUG,"CONFIG", "Checksum: %lx\n\r", sysConfig.checksum);

  ///////////////////////////////////////////////////////////////////
  HAL_TIM_Base_Start_IT(&htim7);				// 50uS Timer

  // Read from PA12 (MODE)
  pin_state = HAL_GPIO_ReadPin(MODE_GPIO_Port, MODE_Pin);
  if (pin_state == GPIO_PIN_SET) {
	ModeState = MODE_APRS;
	log_message(LOG_LEVEL_INFO,"MODE","APRS Mode \n\r");
  }	else {
	ModeState = MODE_DTMF;
	log_message(LOG_LEVEL_INFO,"MODE","DTMF Mode \n\r");
  }

  HAL_Delay(1000);

  ConfigSR105U_Freq(rxFreq, txFreq);
  HAL_Delay(500);
  ConfigSR105U_SQ(sysConfig.sq_level);
  HAL_Delay(500);

  ConfigSR105U_Vol(sysConfig.af_level);
  HAL_Delay(500);

  /* Start the OPAMP so it connects the internal DAC to the external pin */

   if (HAL_OPAMP_Start(&hopamp1) != HAL_OK) {
       Error_Handler();
   }

  /* USER CODE END 2 */

  /* Infinite loop */
  /* USER CODE BEGIN WHILE */

  if (aprsInit == 0) {
   	  BitFIFO_init(&tx_fifo, malloc(APRS_FIFO_BYTES), APRS_FIFO_BYTES);
   	  tx_pack.dest = malloc(APRS_SIGN_LEN);
   	  tx_pack.callsign = malloc(APRS_SIGN_LEN);
   	  tx_pack.digi = malloc(APRS_SIGN_LEN * APRS_MAX_DIGI);
   	  tx_pack.info = malloc(APRS_MAX_INFO + 1);

      HAL_OPAMP_Start(&hopamp1);
      AFSK_init();
      APRS_init();

      strcpy(tx_pack.dest, APRS_DEFAULT_PACKET.dest);
      strcpy(tx_pack.callsign, APRS_DEFAULT_PACKET.callsign);
      strcpy(tx_pack.digi, APRS_DEFAULT_PACKET.digi);
      strcpy(tx_pack.info, APRS_DEFAULT_PACKET.info);

   	  aprsInit = 1;

  }
  init_sine_lut();
  // Prime the entire buffer with baseline data (silence) before starting
  fill_buffer_half(0, BUFFER_SIZE);

//  run_main_menu(MENU_TIMEOUT); 		// Timeout of MENU_TIMEOUT (30000mS).
//  run_command_menu(MENU_TIMEOUT);

  printf("(M/m) for main menu. (C/c) for sending command\n\r");
  printf(" or Press BTN to send command \n\r");
  while(dma_getc_nonblocking() >= 0)
	  ;

  typedef enum {
      ACTIVE_MENU_NONE = 0,
      ACTIVE_MENU_MAIN,
      ACTIVE_MENU_COMMAND
  } ActiveMenu_t;

  ActiveMenu_t active_menu = ACTIVE_MENU_NONE;

  while (1) {
	// 1. Unblocked APRS Packet Handling
    if (APRS_decoded_packet_valid == 1) {
      log_message(LOG_LEVEL_INFO, "APRS", "VALID APRS %ld\r\n", HAL_GetTick());
	  log_message(LOG_LEVEL_INFO, "APRS", "dest  [%s]\r\n", APRS_decoded_packet.dest);
	  log_message(LOG_LEVEL_INFO, "APRS", "callsign  [%s]\r\n", APRS_decoded_packet.callsign);
	  log_message(LOG_LEVEL_INFO, "APRS", "digi = [%s]\r\n", APRS_decoded_packet.digi);
	  log_message(LOG_LEVEL_INFO, "APRS", "info = [%s]\r\n", APRS_decoded_packet.info);

	  APRS_decoded_packet_valid = 0;
    }

    if (APRS_send_done == true) {
    	APRS_send_done = false;
    	log_message(LOG_LEVEL_INFO,"APRS", "APRS Frame sends completely.\n\r");
    	 StopAPRS() ;
    }
    if (send_Pressed == 1) {
        send_Pressed = 0;
    	GPIO_PinState sel0, sel1, sel2;
    	uint8_t sel;
    	// User Pressed Send Button
    	log_message(LOG_LEVEL_INFO,"SEND","SEND Pressed\n\r");
        pin_state = HAL_GPIO_ReadPin(MODE_GPIO_Port, MODE_Pin);
        sel0 = HAL_GPIO_ReadPin(SELECT_0_GPIO_Port, SELECT_0_Pin);
        sel1 = HAL_GPIO_ReadPin(SELECT_1_GPIO_Port, SELECT_1_Pin);
        sel2 = HAL_GPIO_ReadPin(SELECT_2_GPIO_Port, SELECT_2_Pin);

        sel = ((sel2<<2) + (sel1<<1) + sel0);

        if (pin_state == GPIO_PIN_SET) {
          log_message(LOG_LEVEL_INFO,"MODE","APRS Mode, Sel: %d \n\r", sel);
       	  ModeState = MODE_APRS;

      	  switch(sel) {
      	  case 0:
        	  log_message(LOG_LEVEL_INFO,"APRS","APRS Mode 1\n\r");
		      strcpy(tx_pack.callsign, "NOCALL");
		      strcpy(tx_pack.dest, "APCSS");
		      strcpy(tx_pack.digi, "WIDE1-1");
		      strcpy(tx_pack.info, ">MODE=a");
         	  APRS_Send(&tx_pack);
      		  break;
          case 1:
        	  log_message(LOG_LEVEL_INFO,"APRS","APRS Mode 2\n\r");

		      strcpy(tx_pack.callsign, "NOCALL");
		      strcpy(tx_pack.dest, "APCSS");
		      strcpy(tx_pack.digi, "WIDE1-1");
		      strcpy(tx_pack.info, ">MODE=f");
         	  APRS_Send(&tx_pack);
		      break;
          case 2:
        	  log_message(LOG_LEVEL_INFO,"APRS","APRS Mode 3\n\r");

		      strcpy(tx_pack.callsign, "NOCALL");
		      strcpy(tx_pack.dest, "APCSS");
		      strcpy(tx_pack.digi, "WIDE1-1");
		      strcpy(tx_pack.info, ">MODE=b");
         	  APRS_Send(&tx_pack);

		      break;
          case 3:
        	  log_message(LOG_LEVEL_INFO,"APRS","APRS Mode 4\n\r");

		      strcpy(tx_pack.callsign, "NOCALL");
		      strcpy(tx_pack.dest, "APCSS");
		      strcpy(tx_pack.digi, "WIDE1-1");
		      strcpy(tx_pack.info, ">MODE=s");
         	  APRS_Send(&tx_pack);

		      break;
          case 4:
        	  log_message(LOG_LEVEL_INFO,"APRS","APRS Mode 5\n\r");

		      strcpy(tx_pack.callsign, "NOCALL");
		      strcpy(tx_pack.dest, "APCSS");
		      strcpy(tx_pack.digi, "WIDE1-1");
		      strcpy(tx_pack.info, ">MODE=m");
         	  APRS_Send(&tx_pack);

		      break;
          case 5:
        	  log_message(LOG_LEVEL_INFO,"APRS","APRS Mode 6\n\r");

		      strcpy(tx_pack.callsign, "NOCALL");
		      strcpy(tx_pack.dest, "APCSS");
		      strcpy(tx_pack.digi, "WIDE1-1");
		      strcpy(tx_pack.info, ">MODE=e");
         	  APRS_Send(&tx_pack);

		      break;
          case 6:
        	  log_message(LOG_LEVEL_INFO,"APRS","APRS Mode 7\n\r");

		      strcpy(tx_pack.callsign, "NOCALL");
		      strcpy(tx_pack.dest, "APCSS");
		      strcpy(tx_pack.digi, "WIDE1-1");
		      strcpy(tx_pack.info, ">MODE=j");
         	  APRS_Send(&tx_pack);

		      break;
          case 7:
        	  log_message(LOG_LEVEL_INFO,"APRS","APRS Mode 8\n\r");

		      strcpy(tx_pack.callsign, "NOCALL");
		      strcpy(tx_pack.dest, "APCSS");
		      strcpy(tx_pack.digi, "WIDE1-1");
		      strcpy(tx_pack.info, ">MODE=o");
         	  APRS_Send(&tx_pack);

		      break;

          default:
        	  log_message(LOG_LEVEL_INFO,"ERROR","Unknown Selected Mode: %d\n\r", sel);
      	  }

        }	else {
          log_message(LOG_LEVEL_INFO,"MODE","DTMF Mode, Sel: %d \n\r", sel);
       	  ModeState = MODE_DTMF;

      	  switch(sel) {
      	  case 0:
        	  log_message(LOG_LEVEL_INFO,"DTMF","DTMF Mode 1\n\r");

		      EnablePTT();
		      StartDTMF();
		      play_dtmf_tone_Delay('1', TONE_DURATION_MS);
		      play_dtmf_tone_Delay('#', TONE_DURATION_MS);
		      play_dtmf_tone_Delay(' ', TONE_DURATION_MS);
		      StopDTMF();
		      DisablePTT();
      		  break;
          case 1:
        	  log_message(LOG_LEVEL_INFO,"DTMF","DTMF Mode 2\n\r");

		      EnablePTT();
		      StartDTMF();
		      play_dtmf_tone_Delay('2', TONE_DURATION_MS);
		      play_dtmf_tone_Delay('#', TONE_DURATION_MS);
		      play_dtmf_tone_Delay(' ', TONE_DURATION_MS);
		      StopDTMF();
		      DisablePTT();

		      break;
          case 2:
        	  log_message(LOG_LEVEL_INFO,"DTMF","DTMF Mode 3\n\r");

		      EnablePTT();
		      StartDTMF();
		      play_dtmf_tone_Delay('3', TONE_DURATION_MS);
		      play_dtmf_tone_Delay('#', TONE_DURATION_MS);
		      play_dtmf_tone_Delay(' ', TONE_DURATION_MS);
		      StopDTMF();
		      DisablePTT();
		      break;
          case 3:
        	  log_message(LOG_LEVEL_INFO,"DTMF","DTMF Mode 4\n\r");

		      EnablePTT();
		      StartDTMF();
		      play_dtmf_tone_Delay('4', TONE_DURATION_MS);
		      play_dtmf_tone_Delay('#', TONE_DURATION_MS);
		      play_dtmf_tone_Delay(' ', TONE_DURATION_MS);
		      StopDTMF();
		      DisablePTT();
		      break;
          case 4:
        	  log_message(LOG_LEVEL_INFO,"DTMF","DTMF Mode 5\n\r");

		      EnablePTT();
		      StartDTMF();
		      play_dtmf_tone_Delay('5', TONE_DURATION_MS);
		      play_dtmf_tone_Delay('#', TONE_DURATION_MS);
		      play_dtmf_tone_Delay(' ', TONE_DURATION_MS);
		      StopDTMF();
		      DisablePTT();
		      break;
          case 5:
        	  log_message(LOG_LEVEL_INFO,"DTMF","DTMF Mode 6\n\r");

		      EnablePTT();
		      StartDTMF();
		      play_dtmf_tone_Delay('6', TONE_DURATION_MS);
		      play_dtmf_tone_Delay('#', TONE_DURATION_MS);
		      play_dtmf_tone_Delay(' ', TONE_DURATION_MS);
		      StopDTMF();
		      DisablePTT();
		      break;
          case 6:
        	  log_message(LOG_LEVEL_INFO,"DTMF","DTMF Mode 7\n\r");

		      EnablePTT();
		      StartDTMF();
		      play_dtmf_tone_Delay('7', TONE_DURATION_MS);
		      play_dtmf_tone_Delay('#', TONE_DURATION_MS);
		      play_dtmf_tone_Delay(' ', TONE_DURATION_MS);
		      StopDTMF();
		      DisablePTT();
		      break;
          case 7:
        	  log_message(LOG_LEVEL_INFO,"DTMF","DTMF Mode 8\n\r");

		      EnablePTT();
		      StartDTMF();
		      play_dtmf_tone_Delay('8', TONE_DURATION_MS);
		      play_dtmf_tone_Delay('#', TONE_DURATION_MS);
		      play_dtmf_tone_Delay(' ', TONE_DURATION_MS);
		      StopDTMF();
		      DisablePTT();
		      break;

          default:
        	  log_message(LOG_LEVEL_INFO,"ERROR","Unknown Selected Mode: %d\n\r", sel);
      	  }
        }
		printf("(M/m) for main menu. (C/c) for sending command\n\r");
		printf(" or Press BTN to send command \n\r");

    }
	// 2. Read input ONCE per loop cycle
	int key = dma_getc_nonblocking();

	// 3. Routing & State Management
	switch (active_menu) {
	  case ACTIVE_MENU_NONE:
	    // Example activation condition:
	    // Press 'm' to open Main Menu, 'c' to open Command Menu
	    if (key == 'm' || key == 'M') {
	      active_menu = ACTIVE_MENU_MAIN;
	      run_main_menu_nonblocking(-1, 1); // Trigger open
		  printf("(M/m) for main menu. (C/c) for sending command\n\r");
 		  printf(" or Press BTN to send command \n\r");
	    } else if (key == 'c' || key == 'C') {
	      active_menu = ACTIVE_MENU_COMMAND;
	      run_command_menu_nonblocking(-1, 1); // Trigger open
		  printf("(M/m) for main menu. (C/c) for sending command\n\r");
		  printf(" or Press BTN to send command \n\r");
	    }

	    break;

	  case ACTIVE_MENU_MAIN:
	      // Tick main menu. If it returns 0, it has timed out or exited.
	      if (!run_main_menu_nonblocking(key, 0)) {
	        active_menu = ACTIVE_MENU_NONE;
			  printf("(M/m) for main menu. (C/c) for sending command\n\r");
			  printf(" or Press BTN to send command \n\r");
	      }
	      break;

	  case ACTIVE_MENU_COMMAND:
	      // Tick command menu. If it returns 0, it has timed out or exited.
	      if (!run_command_menu_nonblocking(key, 0)) {
	        active_menu = ACTIVE_MENU_NONE;
			  printf("(M/m) for main menu. (C/c) for sending command\n\r");
			  printf(" or Press BTN to send command \n\r");
	      }

	      break;
	}

	HAL_Delay(10);

  }
    /* USER CODE END WHILE */

}

void SystemClock_Config(void)
{
  RCC_OscInitTypeDef RCC_OscInitStruct = {0};
  RCC_ClkInitTypeDef RCC_ClkInitStruct = {0};

  /** Configure the main internal regulator output voltage
  */
  if (HAL_PWREx_ControlVoltageScaling(PWR_REGULATOR_VOLTAGE_SCALE1) != HAL_OK)
  {
    Error_Handler();
  }

  /** Configure LSE Drive Capability
  */
  HAL_PWR_EnableBkUpAccess();
  __HAL_RCC_LSEDRIVE_CONFIG(RCC_LSEDRIVE_LOW);

  /** Initializes the RCC Oscillators according to the specified parameters
  * in the RCC_OscInitTypeDef structure.
  */
  RCC_OscInitStruct.OscillatorType = RCC_OSCILLATORTYPE_LSE|RCC_OSCILLATORTYPE_MSI;
  RCC_OscInitStruct.LSEState = RCC_LSE_ON;
  RCC_OscInitStruct.MSIState = RCC_MSI_ON;
  RCC_OscInitStruct.MSICalibrationValue = 0;
  RCC_OscInitStruct.MSIClockRange = RCC_MSIRANGE_6;
  RCC_OscInitStruct.PLL.PLLState = RCC_PLL_ON;
  RCC_OscInitStruct.PLL.PLLSource = RCC_PLLSOURCE_MSI;
  RCC_OscInitStruct.PLL.PLLM = 1;
  RCC_OscInitStruct.PLL.PLLN = 40;
  RCC_OscInitStruct.PLL.PLLP = RCC_PLLP_DIV7;
  RCC_OscInitStruct.PLL.PLLQ = RCC_PLLQ_DIV2;
  RCC_OscInitStruct.PLL.PLLR = RCC_PLLR_DIV2;
  if (HAL_RCC_OscConfig(&RCC_OscInitStruct) != HAL_OK)
  {
    Error_Handler();
  }

  /** Initializes the CPU, AHB and APB buses clocks
  */
  RCC_ClkInitStruct.ClockType = RCC_CLOCKTYPE_HCLK|RCC_CLOCKTYPE_SYSCLK
                              |RCC_CLOCKTYPE_PCLK1|RCC_CLOCKTYPE_PCLK2;
  RCC_ClkInitStruct.SYSCLKSource = RCC_SYSCLKSOURCE_PLLCLK;
  RCC_ClkInitStruct.AHBCLKDivider = RCC_SYSCLK_DIV1;
  RCC_ClkInitStruct.APB1CLKDivider = RCC_HCLK_DIV1;
  RCC_ClkInitStruct.APB2CLKDivider = RCC_HCLK_DIV1;

  if (HAL_RCC_ClockConfig(&RCC_ClkInitStruct, FLASH_LATENCY_4) != HAL_OK)
  {
    Error_Handler();
  }

  /** Enable MSI Auto calibration
  */
  HAL_RCCEx_EnableMSIPLLMode();
}

static void MX_ADC1_Init(void)
{

  ADC_ChannelConfTypeDef sConfig = {0};

  /** Common config
  */
  hadc1.Instance = ADC1;
  hadc1.Init.ClockPrescaler = ADC_CLOCK_ASYNC_DIV1;
  hadc1.Init.Resolution = ADC_RESOLUTION_8B;
  hadc1.Init.DataAlign = ADC_DATAALIGN_RIGHT;
  hadc1.Init.ScanConvMode = ADC_SCAN_DISABLE;
  hadc1.Init.EOCSelection = ADC_EOC_SINGLE_CONV;
  hadc1.Init.LowPowerAutoWait = DISABLE;
  hadc1.Init.ContinuousConvMode = DISABLE;
  hadc1.Init.NbrOfConversion = 1;
  hadc1.Init.DiscontinuousConvMode = DISABLE;
  hadc1.Init.ExternalTrigConv = ADC_EXTERNALTRIG_T2_TRGO;
  hadc1.Init.ExternalTrigConvEdge = ADC_EXTERNALTRIGCONVEDGE_RISING;
  hadc1.Init.DMAContinuousRequests = ENABLE;
  hadc1.Init.Overrun = ADC_OVR_DATA_OVERWRITTEN;
  hadc1.Init.OversamplingMode = DISABLE;
  if (HAL_ADC_Init(&hadc1) != HAL_OK)
  {
    Error_Handler();
  }

  /** Configure Regular Channel
  */
  sConfig.Channel = ADC_CHANNEL_6;
  sConfig.Rank = ADC_REGULAR_RANK_1;
  sConfig.SamplingTime = ADC_SAMPLETIME_2CYCLES_5;
  sConfig.SingleDiff = ADC_SINGLE_ENDED;
  sConfig.OffsetNumber = ADC_OFFSET_NONE;
  sConfig.Offset = 0;
  if (HAL_ADC_ConfigChannel(&hadc1, &sConfig) != HAL_OK)
  {
    Error_Handler();
  }

}

static void MX_DAC1_Init(void)
{

  DAC_ChannelConfTypeDef sConfig = {0};

  /** DAC Initialization
  */
  hdac1.Instance = DAC1;
  if (HAL_DAC_Init(&hdac1) != HAL_OK)
  {
    Error_Handler();
  }

  /** DAC channel OUT1 config
  */
  sConfig.DAC_SampleAndHold = DAC_SAMPLEANDHOLD_DISABLE;
  sConfig.DAC_Trigger = DAC_TRIGGER_T7_TRGO;
  sConfig.DAC_OutputBuffer = DAC_OUTPUTBUFFER_DISABLE;
  sConfig.DAC_ConnectOnChipPeripheral = DAC_CHIPCONNECT_ENABLE;
  sConfig.DAC_UserTrimming = DAC_TRIMMING_FACTORY;
  if (HAL_DAC_ConfigChannel(&hdac1, &sConfig, DAC_CHANNEL_1) != HAL_OK)
  {
    Error_Handler();
  }

}

static void MX_OPAMP1_Init(void)
{

  hopamp1.Instance = OPAMP1;
  hopamp1.Init.PowerSupplyRange = OPAMP_POWERSUPPLY_LOW;
  hopamp1.Init.Mode = OPAMP_FOLLOWER_MODE;
  hopamp1.Init.NonInvertingInput = OPAMP_NONINVERTINGINPUT_DAC_CH;
  hopamp1.Init.PowerMode = OPAMP_POWERMODE_NORMALPOWER;
  hopamp1.Init.UserTrimming = OPAMP_TRIMMING_FACTORY;
  if (HAL_OPAMP_Init(&hopamp1) != HAL_OK)
  {
    Error_Handler();
  }

}

static void MX_SPI1_Init(void)
{

  /* SPI1 parameter configuration*/
  hspi1.Instance = SPI1;
  hspi1.Init.Mode = SPI_MODE_MASTER;
  hspi1.Init.Direction = SPI_DIRECTION_2LINES;
  hspi1.Init.DataSize = SPI_DATASIZE_4BIT;
  hspi1.Init.CLKPolarity = SPI_POLARITY_LOW;
  hspi1.Init.CLKPhase = SPI_PHASE_1EDGE;
  hspi1.Init.NSS = SPI_NSS_SOFT;
  hspi1.Init.BaudRatePrescaler = SPI_BAUDRATEPRESCALER_2;
  hspi1.Init.FirstBit = SPI_FIRSTBIT_MSB;
  hspi1.Init.TIMode = SPI_TIMODE_DISABLE;
  hspi1.Init.CRCCalculation = SPI_CRCCALCULATION_DISABLE;
  hspi1.Init.CRCPolynomial = 7;
  hspi1.Init.CRCLength = SPI_CRC_LENGTH_DATASIZE;
  hspi1.Init.NSSPMode = SPI_NSS_PULSE_ENABLE;
  if (HAL_SPI_Init(&hspi1) != HAL_OK)
  {
    Error_Handler();
  }

}

static void MX_TIM1_Init(void)
{

  TIM_ClockConfigTypeDef sClockSourceConfig = {0};
  TIM_MasterConfigTypeDef sMasterConfig = {0};

  htim1.Instance = TIM1;
  htim1.Init.Prescaler = 15999;
  htim1.Init.CounterMode = TIM_COUNTERMODE_UP;
  htim1.Init.Period = 499;
  htim1.Init.ClockDivision = TIM_CLOCKDIVISION_DIV1;
  htim1.Init.RepetitionCounter = 0;
  htim1.Init.AutoReloadPreload = TIM_AUTORELOAD_PRELOAD_DISABLE;
  if (HAL_TIM_Base_Init(&htim1) != HAL_OK)
  {
    Error_Handler();
  }
  sClockSourceConfig.ClockSource = TIM_CLOCKSOURCE_INTERNAL;
  if (HAL_TIM_ConfigClockSource(&htim1, &sClockSourceConfig) != HAL_OK)
  {
    Error_Handler();
  }
  if (HAL_TIM_OnePulse_Init(&htim1, TIM_OPMODE_SINGLE) != HAL_OK)
  {
    Error_Handler();
  }
  sMasterConfig.MasterOutputTrigger = TIM_TRGO_RESET;
  sMasterConfig.MasterOutputTrigger2 = TIM_TRGO2_RESET;
  sMasterConfig.MasterSlaveMode = TIM_MASTERSLAVEMODE_DISABLE;
  if (HAL_TIMEx_MasterConfigSynchronization(&htim1, &sMasterConfig) != HAL_OK)
  {
    Error_Handler();
  }

}

static void MX_TIM2_Init(void)
{

  TIM_ClockConfigTypeDef sClockSourceConfig = {0};
  TIM_MasterConfigTypeDef sMasterConfig = {0};

  htim2.Instance = TIM2;
  htim2.Init.Prescaler = 0;
  htim2.Init.CounterMode = TIM_COUNTERMODE_UP;
  htim2.Init.Period = 8332;
  htim2.Init.ClockDivision = TIM_CLOCKDIVISION_DIV1;
  htim2.Init.AutoReloadPreload = TIM_AUTORELOAD_PRELOAD_DISABLE;
  if (HAL_TIM_Base_Init(&htim2) != HAL_OK)
  {
    Error_Handler();
  }
  sClockSourceConfig.ClockSource = TIM_CLOCKSOURCE_INTERNAL;
  if (HAL_TIM_ConfigClockSource(&htim2, &sClockSourceConfig) != HAL_OK)
  {
    Error_Handler();
  }
  sMasterConfig.MasterOutputTrigger = TIM_TRGO_UPDATE;
  sMasterConfig.MasterSlaveMode = TIM_MASTERSLAVEMODE_DISABLE;
  if (HAL_TIMEx_MasterConfigSynchronization(&htim2, &sMasterConfig) != HAL_OK)
  {
    Error_Handler();
  }

}

static void MX_TIM6_Init(void)
{

  TIM_MasterConfigTypeDef sMasterConfig = {0};

  htim6.Instance = TIM6;
  htim6.Init.Prescaler = 0;
  htim6.Init.CounterMode = TIM_COUNTERMODE_UP;
  htim6.Init.Period = 2082;
  htim6.Init.AutoReloadPreload = TIM_AUTORELOAD_PRELOAD_DISABLE;
  if (HAL_TIM_Base_Init(&htim6) != HAL_OK)
  {
    Error_Handler();
  }
  sMasterConfig.MasterOutputTrigger = TIM_TRGO_UPDATE;
  sMasterConfig.MasterSlaveMode = TIM_MASTERSLAVEMODE_DISABLE;
  if (HAL_TIMEx_MasterConfigSynchronization(&htim6, &sMasterConfig) != HAL_OK)
  {
    Error_Handler();
  }

}

static void MX_TIM7_Init(void)
{

  TIM_MasterConfigTypeDef sMasterConfig = {0};

  htim7.Instance = TIM7;
  htim7.Init.Prescaler = 80;
  htim7.Init.CounterMode = TIM_COUNTERMODE_UP;
  htim7.Init.Period = 19;
  htim7.Init.AutoReloadPreload = TIM_AUTORELOAD_PRELOAD_DISABLE;
  if (HAL_TIM_Base_Init(&htim7) != HAL_OK)
  {
    Error_Handler();
  }
  sMasterConfig.MasterOutputTrigger = TIM_TRGO_UPDATE;
  sMasterConfig.MasterSlaveMode = TIM_MASTERSLAVEMODE_DISABLE;
  if (HAL_TIMEx_MasterConfigSynchronization(&htim7, &sMasterConfig) != HAL_OK)
  {
    Error_Handler();
  }

}

static void MX_USART1_UART_Init(void)
{

  huart1.Instance = USART1;
  huart1.Init.BaudRate = 9600;
  huart1.Init.WordLength = UART_WORDLENGTH_8B;
  huart1.Init.StopBits = UART_STOPBITS_1;
  huart1.Init.Parity = UART_PARITY_NONE;
  huart1.Init.Mode = UART_MODE_TX_RX;
  huart1.Init.HwFlowCtl = UART_HWCONTROL_NONE;
  huart1.Init.OverSampling = UART_OVERSAMPLING_16;
  huart1.Init.OneBitSampling = UART_ONE_BIT_SAMPLE_DISABLE;
  huart1.AdvancedInit.AdvFeatureInit = UART_ADVFEATURE_NO_INIT;
  if (HAL_UART_Init(&huart1) != HAL_OK)
  {
    Error_Handler();
  }

}

static void MX_USART2_UART_Init(void)
{

  huart2.Instance = USART2;
  huart2.Init.BaudRate = 115200;
  huart2.Init.WordLength = UART_WORDLENGTH_8B;
  huart2.Init.StopBits = UART_STOPBITS_1;
  huart2.Init.Parity = UART_PARITY_NONE;
  huart2.Init.Mode = UART_MODE_TX_RX;
  huart2.Init.HwFlowCtl = UART_HWCONTROL_NONE;
  huart2.Init.OverSampling = UART_OVERSAMPLING_16;
  huart2.Init.OneBitSampling = UART_ONE_BIT_SAMPLE_DISABLE;
  huart2.AdvancedInit.AdvFeatureInit = UART_ADVFEATURE_NO_INIT;
  if (HAL_UART_Init(&huart2) != HAL_OK)
  {
    Error_Handler();
  }

}

static void MX_DMA_Init(void)
{

  /* DMA controller clock enable */
  __HAL_RCC_DMA1_CLK_ENABLE();

  /* DMA interrupt init */
  /* DMA1_Channel1_IRQn interrupt configuration */
  HAL_NVIC_SetPriority(DMA1_Channel1_IRQn, 0, 0);
  HAL_NVIC_EnableIRQ(DMA1_Channel1_IRQn);
  /* DMA1_Channel3_IRQn interrupt configuration */
  HAL_NVIC_SetPriority(DMA1_Channel3_IRQn, 0, 0);
  HAL_NVIC_EnableIRQ(DMA1_Channel3_IRQn);
  /* DMA1_Channel4_IRQn interrupt configuration */
  HAL_NVIC_SetPriority(DMA1_Channel4_IRQn, 0, 0);
  HAL_NVIC_EnableIRQ(DMA1_Channel4_IRQn);
  /* DMA1_Channel5_IRQn interrupt configuration */
  HAL_NVIC_SetPriority(DMA1_Channel5_IRQn, 0, 0);
  HAL_NVIC_EnableIRQ(DMA1_Channel5_IRQn);
  /* DMA1_Channel6_IRQn interrupt configuration */
  HAL_NVIC_SetPriority(DMA1_Channel6_IRQn, 0, 0);
  HAL_NVIC_EnableIRQ(DMA1_Channel6_IRQn);
  /* DMA1_Channel7_IRQn interrupt configuration */
  HAL_NVIC_SetPriority(DMA1_Channel7_IRQn, 0, 0);
  HAL_NVIC_EnableIRQ(DMA1_Channel7_IRQn);

}

static void MX_GPIO_Init(void)
{
  GPIO_InitTypeDef GPIO_InitStruct = {0};

  /* GPIO Ports Clock Enable */
  __HAL_RCC_GPIOC_CLK_ENABLE();
  __HAL_RCC_GPIOA_CLK_ENABLE();
  __HAL_RCC_GPIOB_CLK_ENABLE();

  /*Configure GPIO pin Output Level */
  HAL_GPIO_WritePin(GPIOA, SPI_NSS_Pin|TX_PTT_LED_Pin, GPIO_PIN_RESET);

  /*Configure GPIO pin Output Level */
  HAL_GPIO_WritePin(GPIOB, APRS_VALID_Pin|STATUS_Pin|LD3_Pin|TX_PTT_Pin, GPIO_PIN_RESET);

  /*Configure GPIO pins : SELECT_1_Pin SELECT_2_Pin */
  GPIO_InitStruct.Pin = SELECT_1_Pin|SELECT_2_Pin;
  GPIO_InitStruct.Mode = GPIO_MODE_INPUT;
  GPIO_InitStruct.Pull = GPIO_NOPULL;
  HAL_GPIO_Init(GPIOA, &GPIO_InitStruct);

  /*Configure GPIO pins : SPI_NSS_Pin TX_PTT_LED_Pin */
  GPIO_InitStruct.Pin = SPI_NSS_Pin|TX_PTT_LED_Pin;
  GPIO_InitStruct.Mode = GPIO_MODE_OUTPUT_PP;
  GPIO_InitStruct.Pull = GPIO_NOPULL;
  GPIO_InitStruct.Speed = GPIO_SPEED_FREQ_LOW;
  HAL_GPIO_Init(GPIOA, &GPIO_InitStruct);

  /*Configure GPIO pins : APRS_VALID_Pin STATUS_Pin LD3_Pin TX_PTT_Pin */
  GPIO_InitStruct.Pin = APRS_VALID_Pin|STATUS_Pin|LD3_Pin|TX_PTT_Pin;
  GPIO_InitStruct.Mode = GPIO_MODE_OUTPUT_PP;
  GPIO_InitStruct.Pull = GPIO_NOPULL;
  GPIO_InitStruct.Speed = GPIO_SPEED_FREQ_LOW;
  HAL_GPIO_Init(GPIOB, &GPIO_InitStruct);

  /*Configure GPIO pins : MODE_Pin SELECT_0_Pin */
  GPIO_InitStruct.Pin = MODE_Pin|SELECT_0_Pin;
  GPIO_InitStruct.Mode = GPIO_MODE_INPUT;
  GPIO_InitStruct.Pull = GPIO_NOPULL;
  HAL_GPIO_Init(GPIOB, &GPIO_InitStruct);

  /*Configure GPIO pin : SEND_BTN_Pin */
  GPIO_InitStruct.Pin = SEND_BTN_Pin;
  GPIO_InitStruct.Mode = GPIO_MODE_IT_FALLING;
  GPIO_InitStruct.Pull = GPIO_NOPULL;
  HAL_GPIO_Init(SEND_BTN_GPIO_Port, &GPIO_InitStruct);

  /* EXTI interrupt init*/
  HAL_NVIC_SetPriority(EXTI9_5_IRQn, 0, 0);
  HAL_NVIC_EnableIRQ(EXTI9_5_IRQn);

}

/* USER CODE BEGIN 4 */

#define PERIOD 10000
#define ON_TIME 100
void HAL_TIM_PeriodElapsedCallback(TIM_HandleTypeDef *htim)
{
  /* USER CODE BEGIN Callback 0 */
  static uint32_t c;
  /* USER CODE END Callback 0 */
//  if (htim->Instance == TIM3) {
//    HAL_IncTick();
//  }
  /* USER CODE BEGIN Callback 1 */
  if (htim->Instance == TIM7) {
    c++;
    if ( c == PERIOD-ON_TIME) {
	  HAL_GPIO_WritePin(LD3_GPIO_Port, LD3_Pin, GPIO_PIN_SET);
    } else if (c == PERIOD) {
      HAL_GPIO_WritePin(LD3_GPIO_Port, LD3_Pin, GPIO_PIN_RESET);
      flag = 1;
      c = 0;
    }
  } //else if (htim->Instance == TIM6) {
//	  //HAL_GPIO_TogglePin(PIO_PULSE_GPIO_Port, PIO_PULSE_Pin);
//  }

  if (htim->Instance == TIM1) {
      // 1. Turn LED OFF
      HAL_GPIO_WritePin(APRS_VALID_GPIO_Port, APRS_VALID_Pin, GPIO_PIN_RESET);

      // 2. Stop Timer Interrupt
      HAL_TIM_Base_Stop_IT(htim);
  }
  /* USER CODE END Callback 1 */
}

int __io_putchar(int ch)
{
  dma_printf_putc(ch&0xFF);
  return ch;
}

int __io_getchar(void)
{
  return dma_scanf_getc_blocking();
}

void HAL_UART_RxCpltCallback(UART_HandleTypeDef *huart){
  // Check if the interrupt came from USART1
  if (huart->Instance == USART2) {
     // Handle USART2 specific TX completion
  }
  // Check if it came from USART2
  else if (huart->Instance == USART1) {
    // Do something else for USART1, or do nothing
	rxBuffer[rxIndex++] = rxChar[0];

	// Example: Stop reading if we hit a newline or fill the buffer
	if (rxChar[0] == 0X0A || rxIndex >= 49) {
	  rxBuffer[rxIndex] = '\0'; // Null terminate string
	  rxCompleteFlag = 1;       // Signal main loop we are done
	} else {
	  // Re-arm interrupt for the next byte
	  HAL_UART_Receive_IT(&huart1, rxChar, 1);
	}
  }
}

void HAL_UART_TxCpltCallback(UART_HandleTypeDef *huart){
  if (huart->Instance == USART2) {
    dma_printf_send_it(huart);
  }
  if (huart->Instance == USART1) {
    txCompleteFlag = 1;
  }
}

void HAL_GPIO_EXTI_Callback(uint16_t GPIO_Pin)
{
	static uint32_t last_interrupt_time = 0;
	uint32_t current_time = HAL_GetTick();

    if (GPIO_Pin == GPIO_PIN_5)
    {
      // 200 ms debounce window
      if(current_time - last_interrupt_time > 200) {
        // Execute action
      	// Add your interrupt code here
        //HAL_GPIO_TogglePin(LD2_GPIO_Port, LD2_Pin);
//      	printf("SEND Pressed\n\r");
      	send_Pressed = 1;
//////////////////////////////////
#if 0
        if (ModeState == MODE_APRS) {
        	 APRS_Send(">MODE=a");

       	  log_message(LOG_LEVEL_INFO,"BTNSEND", "APRS Mode 1 Selected\n\r");
          //printf("APRS Mode 1 Selected\n\r");
       	  log_message(LOG_LEVEL_INFO,"BTNSEND", "Using Tx Frequency : %.4f\n\r", txFreq);
          //printf("\tUsing Tx Frequency : %.4f\n\r", txFreq);
          if (aprsInit == 0) {
      	    BitFIFO_init(&tx_fifo, malloc(APRS_FIFO_BYTES), APRS_FIFO_BYTES);
      	    tx_pack.dest = malloc(APRS_SIGN_LEN);
      	    tx_pack.callsign = malloc(APRS_SIGN_LEN);
      	    tx_pack.digi = malloc(APRS_SIGN_LEN * APRS_MAX_DIGI);
      	    tx_pack.info = malloc(APRS_MAX_INFO + 1);
      	    aprsInit = 1;
          }

          HAL_OPAMP_Start(&hopamp1);
          AFSK_init();
          APRS_init();

          strcpy(tx_pack.dest, APRS_DEFAULT_PACKET.dest);
          strcpy(tx_pack.callsign, APRS_DEFAULT_PACKET.callsign);
          strcpy(tx_pack.digi, APRS_DEFAULT_PACKET.digi);
          strcpy(tx_pack.info, APRS_DEFAULT_PACKET.info);

          EnablePTT();

          // N0CALL>APCSS,WIDE1-1:>MODE=a
          strcpy(tx_pack.callsign, "NOCALL");
          strcpy(tx_pack.dest, "APCSS");
          strcpy(tx_pack.digi, "WIDE1-1");
          strcpy(tx_pack.info, ">MODE=a");

          APRS_print(&tx_pack);

          StartAPRS();
          APRS_encode(&tx_fifo, &tx_pack);
          AFSK_send(&tx_fifo);

        } else  if (ModeState == MODE_DTMF) {
        	log_message(LOG_LEVEL_INFO,"BTNSEND", "DTMF Mode, no signal is generated.\n\r");
            //printf("DTMF Mode, no signal is generated.\n\r");
        }
//////////////////////////////////
#endif
        last_interrupt_time = current_time;
      }

    }
}

/* USER CODE END 4 */

void Error_Handler(void)
{
  /* USER CODE BEGIN Error_Handler_Debug */
  /* User can add his own implementation to report the HAL error return state */

  uint8_t error_code;
  __disable_irq();

  // Default to 1 blink if no specific code was set

  switch(global_error_code) {
    case NO_ERROR:
	  error_code = 1;
	  break;
    case ERROR_TIMER:
	  error_code = 2;
	  break;
    case ERROR_DAC:
	  error_code = 3;
	  break;
    case ERROR_UART:
	  error_code = 4;
	  break;
    case ERROR_OPAMP:
	  error_code = 5;
	  break;

  }

  volatile uint32_t count;

  while (1)
  {
      for (uint8_t i = 0; i < error_code; i++)
      {
          HAL_GPIO_WritePin(STATUS_GPIO_Port, STATUS_Pin, GPIO_PIN_SET);
          count = 14000000; // ~250ms at 170MHz
          __asm__ volatile ("1: subs %0, %0, #1 \n\t bne 1b" : "+r" (count) :: "cc");

          HAL_GPIO_WritePin(STATUS_GPIO_Port, STATUS_Pin, GPIO_PIN_RESET);
          count = 14000000;
          __asm__ volatile ("1: subs %0, %0, #1 \n\t bne 1b" : "+r" (count) :: "cc");
      }

      // Long pause between sequences
      count = 110000000;
      __asm__ volatile ("1: subs %0, %0, #1 \n\t bne 1b" : "+r" (count) :: "cc");
  }
  /* USER CODE END Error_Handler_Debug */
}
